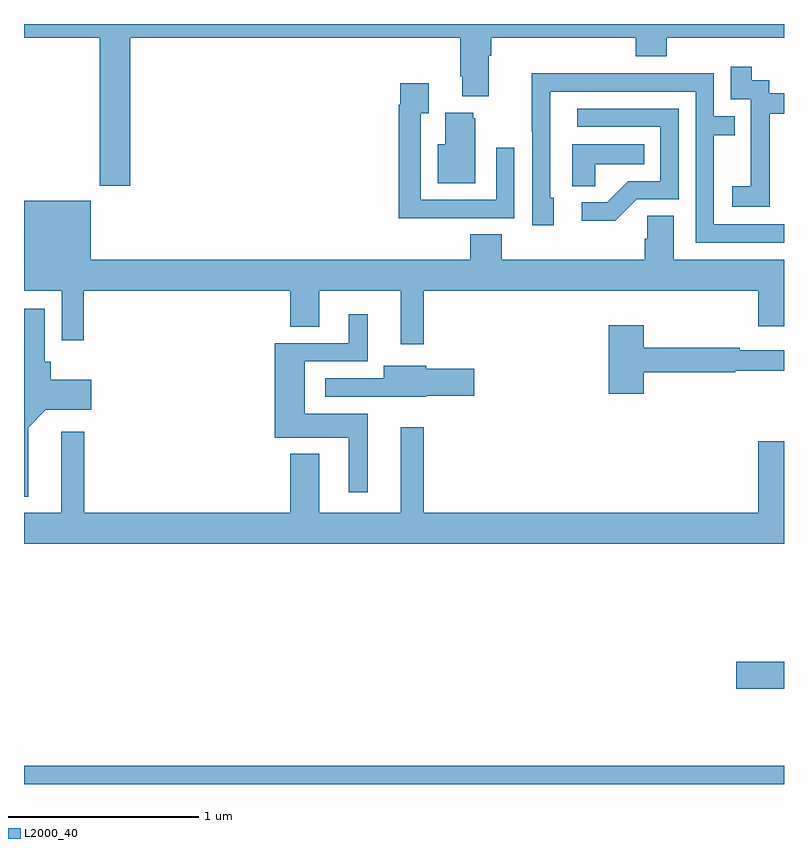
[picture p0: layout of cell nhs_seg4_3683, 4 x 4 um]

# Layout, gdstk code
import gdstk
lib = gdstk.Library(unit=1e-6, precision=1e-09)
def R(c, l, rs):  # rectangles x0, y0, x1, y1
    for r in rs: c.add(gdstk.rectangle(r[:2], r[2:], *l))
def P(c, l, *ps):  # polygons
    for p in ps: c.add(gdstk.Polygon(p, *l))
L2000_40 = (2000, 40)

nhs_seg4_3683 = lib.new_cell('nhs_seg4_3683')
R(nhs_seg4_3683, L2000_40, [(305,784.9,309,784.996), (308.748,785.401,309,785.543)])
P(nhs_seg4_3683, L2000_40, [(305.558,788.828),(307.295,788.828),(307.295,788.626),(307.307,788.626),(307.307,788.519),(307.447,788.519),(307.447,788.732),(307.46,788.732),(307.46,788.828),(308.219,788.828),(308.219,788.729),(308.384,788.729),(308.384,788.828),(309,788.828),(309,788.9),(305,788.9),(305,788.828),(305.398,788.828),(305.398,788.049),(305.558,788.049)],
  [(308.925,788.143),(308.924,788.143),(308.924,788.427),(309,788.427),(309,788.535),(308.922,788.535),(308.922,788.604),(308.83,788.604),(308.83,788.674),(308.721,788.674),(308.721,788.505),(308.826,788.505),(308.826,788.276),(308.825,788.276),(308.825,788.047),(308.727,788.047),(308.727,787.937),(308.925,787.937)],
  [(309,787.845),(308.631,787.845),(308.631,788.314),(308.741,788.314),(308.741,788.415),(308.631,788.415),(308.631,788.64),(308.135,788.64),(308.135,788.642),(307.672,788.642),(307.672,788.335),(307.674,788.335),(307.674,787.842),(307.789,787.842),(307.789,787.986),(307.77,787.986),(307.77,788.544),(308.535,788.544),(308.535,787.749),(309,787.749)],
  [(307.265,787.878),(307.581,787.878),(307.581,788.248),(307.485,788.248),(307.485,787.974),(307.089,787.974),(307.089,788.431),(307.129,788.431),(307.129,788.587),(306.981,788.587),(306.981,788.474),(306.973,788.474),(306.973,787.877),(307.265,787.877)],
  [(308.226,787.977),(308.445,787.977),(308.445,788.454),(307.911,788.454),(307.911,788.358),(308.349,788.358),(308.349,788.073),(308.18,788.073),(308.069,787.962),(307.935,787.962),(307.935,787.865),(308.113,787.865)],
  [(307.375,788.403),(307.364,788.403),(307.364,788.434),(307.217,788.434),(307.217,788.266),(307.178,788.266),(307.178,788.063),(307.375,788.063)],
  [(308.007,788.162),(308.264,788.162),(308.264,788.266),(307.886,788.266),(307.886,788.047),(308.007,788.047)],
  [(307.105,787.496),(308.864,787.496),(308.864,787.308),(309,787.308),(309,787.66),(308.419,787.66),(308.419,787.892),(308.28,787.892),(308.28,787.769),(308.267,787.769),(308.267,787.66),(307.514,787.66),(307.514,787.793),(307.349,787.793),(307.349,787.66),(305.35,787.66),(305.35,787.969),(305,787.969),(305,787.496),(305.199,787.496),(305.199,787.236),(305.315,787.236),(305.315,787.496),(306.401,787.496),(306.401,787.306),(306.553,787.306),(306.553,787.496),(306.983,787.496),(306.983,787.215),(307.105,787.215)],
  [(305.023,786.776),(305.115,786.869),(305.353,786.869),(305.353,787.027),(305.141,787.027),(305.141,787.122),(305.11,787.122),(305.11,787.402),(305,787.402),(305,786.413),(305.023,786.413)],
  [(306.808,786.85),(306.478,786.85),(306.478,787.125),(306.808,787.125),(306.808,787.372),(306.71,787.372),(306.71,787.221),(306.32,787.221),(306.32,786.722),(306.71,786.722),(306.71,786.435),(306.808,786.435)],
  [(308.261,787.066),(308.744,787.066),(308.744,787.074),(309,787.074),(309,787.182),(308.768,787.182),(308.768,787.195),(308.261,787.195),(308.261,787.315),(308.078,787.315),(308.078,786.954),(308.261,786.954)],
  [(307.116,786.944),(307.369,786.944),(307.369,787.086),(307.116,787.086),(307.116,787.102),(306.893,787.102),(306.893,787.035),(306.585,787.035),(306.585,786.939),(306.897,786.939),(306.897,786.938),(307.116,786.938)],
  [(309,786.703),(308.864,786.703),(308.864,786.328),(307.105,786.328),(307.105,786.778),(306.983,786.778),(306.983,786.328),(306.553,786.328),(306.553,786.637),(306.401,786.637),(306.401,786.328),(305.318,786.328),(305.318,786.754),(305.195,786.754),(305.195,786.328),(305,786.328),(305,786.164),(309,786.164)])

lib.write_gds('nhs_seg4_3683.gds')
